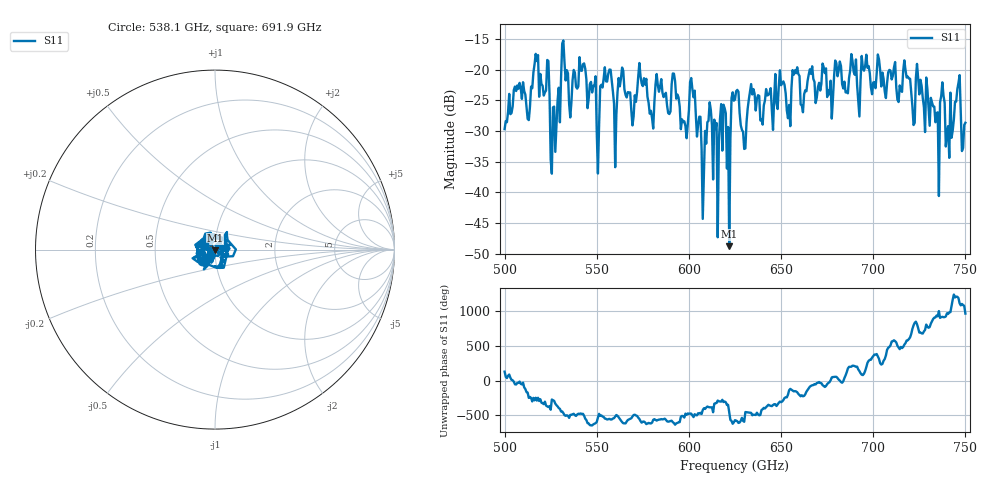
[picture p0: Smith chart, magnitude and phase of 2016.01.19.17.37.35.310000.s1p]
!Created with skrf (http://scikit-rf.org).
# GHz S RI R 50.0
!freq ReS11 ImS11
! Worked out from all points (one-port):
!   401 points, 500 GHz to 750 GHz, reference 50 ohm
!   lowest |S11| = -48.8 dB at 621.9 GHz (marker M1), VSWR 1.01, Z = 50 - j0.363 ohm
!   |S11| at or under -10 dB: start of sweep to end of sweep
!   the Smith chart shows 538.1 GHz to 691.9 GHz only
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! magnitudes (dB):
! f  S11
! 500 GHz  -29.7
! 513.1 GHz  -28.2
! 516.9 GHz  -17.4
! 523.1 GHz  -18.4
! 526.2 GHz  -26.2
! 531.2 GHz  -15.8
! 541.9 GHz  -20.2
! 551.2 GHz  -29.2
! 553.1 GHz  -22.9
! 560 GHz  -35.9
! 562.5 GHz  -22.7
! 593.8 GHz  -24.1
! 598.1 GHz  -29.2
! 601.9 GHz  -23.2
! 608.1 GHz  -36.9
! 611.2 GHz  -25.3
! 621.9 GHz  -48.8
! 625 GHz  -24.9
! 629.4 GHz  -30.1
! 633.8 GHz  -22.4
! 656.2 GHz  -20.1
! 687.5 GHz  -20.1
! 718.8 GHz  -21.1
! 734.4 GHz  -27.1
! 737.5 GHz  -22.1
! 740 GHz  -30.3
! 745.6 GHz  -23.2
! 750 GHz  -28.7
